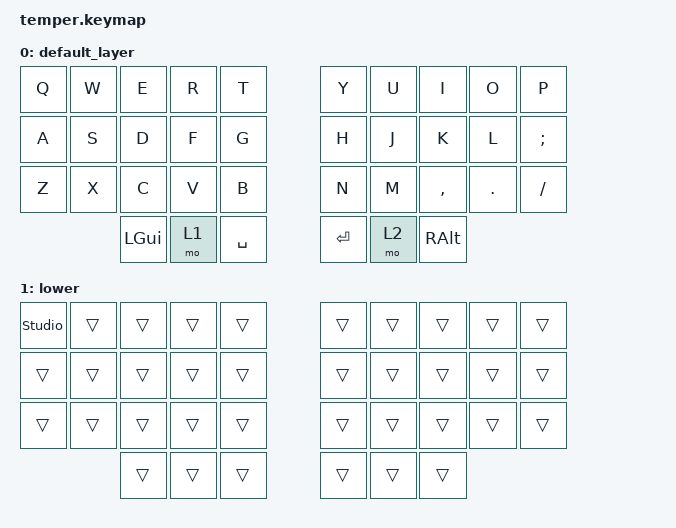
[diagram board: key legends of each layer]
/*
 * Copyright (c) 2020 The ZMK Contributors
 *
 * SPDX-License-Identifier: MIT
 */

#include <behaviors.dtsi>
#include <dt-bindings/zmk/keys.h>
#include <dt-bindings/zmk/bt.h>
#include <dt-bindings/zmk/outputs.h>

/ {
        keymap {
                compatible = "zmk,keymap";

                default_layer {
                        bindings = <
   &kp Q &kp W &kp E &kp R &kp T   &kp Y &kp U  &kp I     &kp O   &kp P
   &kp A &kp S &kp D &kp F &kp G   &kp H &kp J  &kp K     &kp L   &kp SEMI
   &kp Z &kp X &kp C &kp V &kp B   &kp N &kp M  &kp COMMA &kp DOT &kp FSLH
        &kp LGUI &mo 1 &kp SPACE   &kp RET &mo 2 &kp RALT
                        >;
                };

                lower {
                      bindings = <
   &studio_unlock &trans &trans &trans &trans   &trans &trans &trans &trans &trans
   &trans         &trans &trans &trans &trans   &trans &trans &trans &trans &trans
   &trans         &trans &trans &trans &trans   &trans &trans &trans &trans &trans
                         &trans &trans &trans   &trans &trans &trans
                        >;
                };

                raise {
                    status = "reserved";
                };

                adjust {
                    status = "reserved";
                };
        };
};
